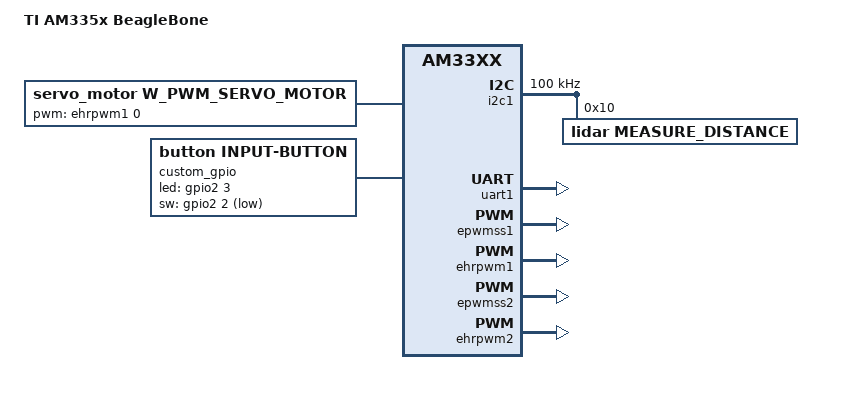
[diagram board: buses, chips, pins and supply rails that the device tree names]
/dts-v1/;
#include "am33xx.dtsi"
#include "am335x-bone-common.dtsi"
#include "am335x-boneblack-common.dtsi"
#include "am335x-boneblack-hdmi.dtsi"

#include <dt-bindings/interrupt-controller/irq.h>

/ {
	model = "TI AM335x BeagleBone";
	compatible = "ti,am335x-bone", "ti,am33xx";
	
	pwm_servo {
		compatible	= "servo_motor,w_pwm_servo_motor";
		pwms 		= <&ehrpwm1 0 20000000 0>;
		pwm-names 	= "pwm_servo_motor";
		pinctrl-names	= "default";
		//pinctrl-0	= <&ehrpwm1_pins>;
		enabled		= <0>;
		duty		= <0>;
		status = "okay";				
	};
	
	custom_gpio {
		pinctrl-names = "default";
		pinctrl-0 = <&user_irq_led_default>;
		compatible = "button, input-button";
		
		led-gpios=<&gpio2 3 GPIO_ACTIVE_HIGH>;
		sw-gpios=<&gpio2 2 GPIO_ACTIVE_LOW>;
		
	};
};

&am33xx_pinmux {

	pinctrl-name = "default";
	//pinctrl-0 = <&user_irq_led_default>;
	
	user_irq_led_default: user_irq_led_default {
     		pinctrl-single,pins = <
     			AM33XX_IOPAD(0x890,PIN_INPUT_PULLDOWN | MUX_MODE7)	/* gpmc_adv_ale.gpio2_2		P8_7*/
     			AM33XX_IOPAD(0x894,PIN_OUTPUT_PULLDOWN | MUX_MODE7) 	/* gpmc_oen_ren.gpio2_3 	P8_8*/
     		>;     	
     	};

	i2c1_pins: i2c1-pins {
		pinctrl-single,pins = <
			AM33XX_PADCONF(0x958, PIN_INPUT_PULLUP, MUX_MODE2)		/* spi0_d1.i2c2_sda */
			AM33XX_PADCONF(0x95c, PIN_INPUT_PULLUP, MUX_MODE2)		/* spi0_cs0.i2c2_scl */
		>;
	};
	
	uart1_pins: uart1-pins {
		pinctrl-single,pins = <
			AM33XX_PADCONF(AM335X_PIN_UART1_RXD, PIN_INPUT_PULLUP, MUX_MODE0)
			AM33XX_PADCONF(AM335X_PIN_UART1_TXD, PIN_OUTPUT_PULLDOWN, MUX_MODE0)
		>;
	};
	
    	ehrpwm1_pins: ehrpwm1_pins {
        	pinctrl-single,pins = <
            		AM33XX_IOPAD(0x848, PIN_OUTPUT | MUX_MODE6) /* P9.14, EHRPWM1A */
            		AM33XX_IOPAD(0x84c, PIN_OUTPUT | MUX_MODE6) /* P9.16, EHRPWM1B */
        	>;
    	};
    	
    	ehrpwm2_pins: ehrpwm2_pins {
        	pinctrl-single,pins = <
            		AM33XX_IOPAD(0x820, PIN_OUTPUT | MUX_MODE4) /* P8.19, EHRPWM2A */
            		AM33XX_IOPAD(0x824, PIN_OUTPUT | MUX_MODE4) /* P8.13, EHRPWM2B */
     		>;
     	};	
     	
     	user_leds_default: user_leds_default {
     		pinctrl-single,pins = <
     			AM33XX_IOPAD(0x810,PIN_OUTPUT_PULLDOWN | MUX_MODE7)	/* gpmc_ad4.gpio1_4 		P8_23*/
     		>;
     	
     	};
};



&i2c1 {
	pinctrl-names = "default";
	pinctrl-0 = <&i2c1_pins>;

	status = "okay";
	clock-frequency = <100000>;
	
	lidar: lidar_measurement@10{
		compatible = "lidar,measure_distance";
		reg = <0x10>;
	};

};

&uart1 {
	pinctrl-names = "default";
	pinctrl-0 = <&uart1_pins>;

	status = "okay";
};

&epwmss1 {
	status = "okay";
};

&ehrpwm1 {
	status = "okay";
	pinctrl-names = "default";
	pinctrl-0 = <&ehrpwm1_pins>;
};

&epwmss2 {
	status = "okay";
};

&ehrpwm2 {
	status = "okay";
	pinctrl-names = "default";
	pinctrl-0 = <&ehrpwm2_pins>;
};





